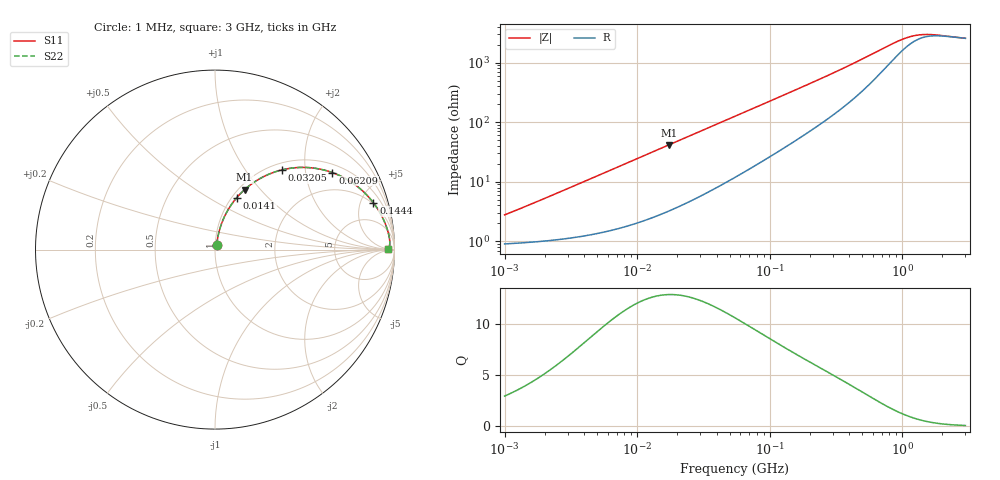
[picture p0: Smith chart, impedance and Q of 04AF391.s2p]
# MHz S MA R 50
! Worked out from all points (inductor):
!   352 points, 1 MHz to 3 GHz, reference 50 ohm
!   read as one part in series: L = 415 nH near 1.047 MHz
!   highest Q = 12.9 at 17.31 MHz (marker M1), where L = 380 nH
!   S11 on the Smith chart (normalised r, x): 1 MHz: 1.02, +0.05; 14.1 MHz: 1.05, +0.68; 32.05 MHz: 1.12, +1.50; 62.09 MHz: 1.28, +2.83; 144.4 MHz: 1.87, +6.38; 3 GHz: 52, +1
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1  0.02751 69.5  0.9907 -1.5  0.9907 -1.5  0.02751 69.5
2.074925  0.05359 76.2  0.9886 -3.0  0.9886 -3.0  0.05359 76.2
3.841257  0.09578 77.4  0.9836 -5.5  0.9836 -5.5  0.09578 77.4
8.154216  0.1936 73.9  0.9643 -11.1  0.9643 -11.1  0.1936 73.9
14.09724  0.3147 67.2  0.9249 -18.3  0.9249 -18.3  0.3147 67.2
14.4225  0.3209 66.9  0.9224 -18.7  0.9224 -18.7  0.3209 66.9
17.30976  0.373 63.7  0.8994 -21.8  0.8994 -21.8  0.373 63.7
23.28484  0.468 57.7  0.8478 -27.8  0.8478 -27.8  0.468 57.7
32.04512  0.5782 50.1  0.7698 -35.2  0.7698 -35.2  0.5782 50.1
42.1345  0.6705 43.1  0.6857 -41.9  0.6857 -41.9  0.6705 43.1
55.40051  0.7527 36.1  0.5912 -48.5  0.5912 -48.5  0.7527 36.1
62.0934  0.7826 33.2  0.5507 -51.2  0.5507 -51.2  0.7826 33.2
93.618  0.8667 24.1  0.4102 -59.4  0.4102 -59.4  0.8667 24.1
144.4041  0.9203 16.5  0.2859 -65.8  0.2859 -65.8  0.9203 16.5
208.0084  0.9463 11.7  0.2052 -69.1  0.2052 -69.1  0.9463 11.7
393.9654  0.9685 6.1  0.1091 -70.2  0.1091 -70.2  0.9685 6.1
799.0137  0.9748 2.5  0.0497 -58.3  0.0497 -58.3  0.9748 2.5
1074.822  0.9735 1.5  0.03725 -43.9  0.03725 -43.9  0.9735 1.5
1232.465  0.9723 1.2  0.03422 -35.3  0.03422 -35.3  0.9723 1.2
1381.358  0.9711 0.9  0.03292 -28.1  0.03292 -28.1  0.9711 0.9
1775.316  0.9681 0.5  0.03299 -14.5  0.03299 -14.5  0.9681 0.5
3000  0.9626 0.1  0.03746 -1.5  0.03746 -1.5  0.9626 0.1
